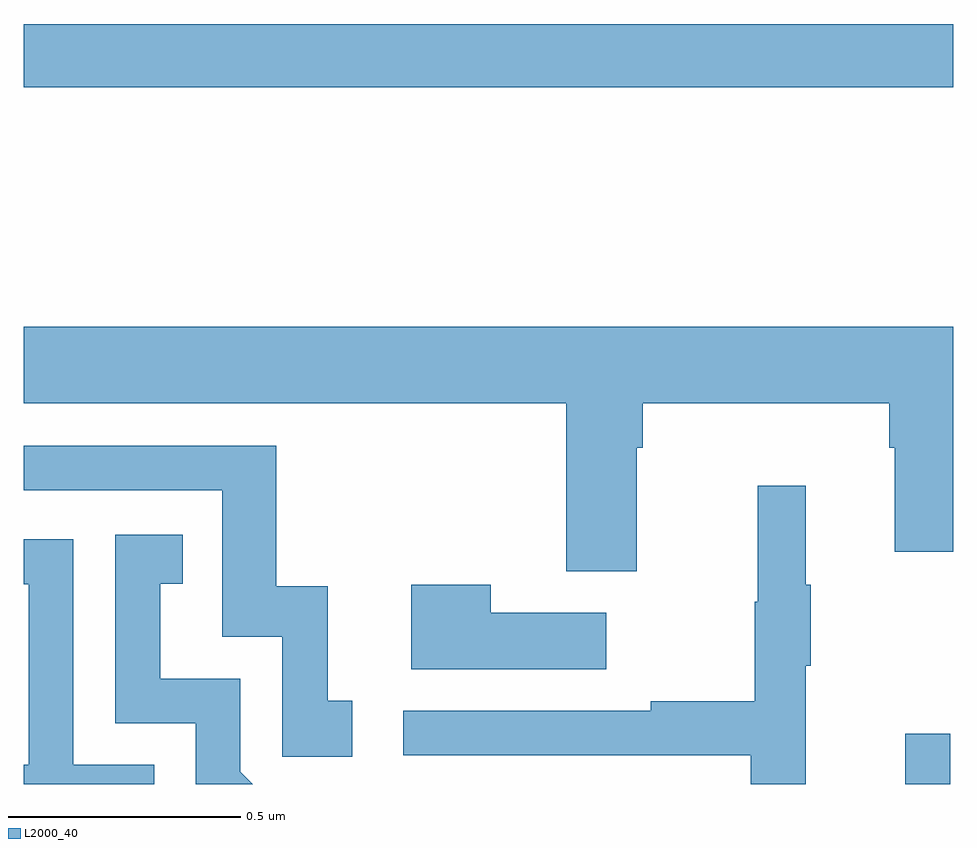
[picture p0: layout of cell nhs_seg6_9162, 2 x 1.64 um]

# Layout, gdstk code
import gdstk
lib = gdstk.Library(unit=1e-6, precision=1e-09)
def R(c, l, rs):  # rectangles x0, y0, x1, y1
    for r in rs: c.add(gdstk.rectangle(r[:2], r[2:], *l))
def P(c, l, *ps):  # polygons
    for p in ps: c.add(gdstk.Polygon(p, *l))
L2000_40 = (2000, 40)

nhs_seg6_9162 = lib.new_cell('nhs_seg6_9162')
R(nhs_seg6_9162, L2000_40, [(231.897,962.5,231.994,962.608), (230,964,232,964.136)])
P(nhs_seg6_9162, L2000_40, [(231.319,963.224),(231.332,963.224),(231.332,963.32),(231.863,963.32),(231.863,963.224),(231.875,963.224),(231.875,963),(232,963),(232,963.484),(230,963.484),(230,963.32),(231.167,963.32),(231.167,962.958),(231.319,962.958)],
  [(230.707,962.679),(230.654,962.679),(230.654,962.926),(230.543,962.926),(230.543,963.228),(230,963.228),(230,963.132),(230.427,963.132),(230.427,962.817),(230.556,962.817),(230.556,962.559),(230.707,962.559)],
  [(231.683,962.755),(231.694,962.755),(231.694,962.929),(231.683,962.929),(231.683,963.142),(231.58,963.142),(231.58,962.892),(231.573,962.892),(231.573,962.678),(231.349,962.678),(231.349,962.658),(230.817,962.658),(230.817,962.562),(231.565,962.562),(231.565,962.5),(231.683,962.5)],
  [(230.466,962.526),(230.466,962.727),(230.293,962.727),(230.293,962.931),(230.342,962.931),(230.342,963.037),(230.196,963.037),(230.196,962.631),(230.37,962.631),(230.37,962.5),(230.492,962.5)],
  [(230.28,962.541),(230.106,962.541),(230.106,963.027),(230,963.027),(230,962.93),(230.01,962.93),(230.01,962.541),(230,962.541),(230,962.5),(230.28,962.5)],
  [(231.253,962.869),(231.005,962.869),(231.005,962.929),(230.834,962.929),(230.834,962.747),(231.253,962.747)])

lib.write_gds('nhs_seg6_9162.gds')
